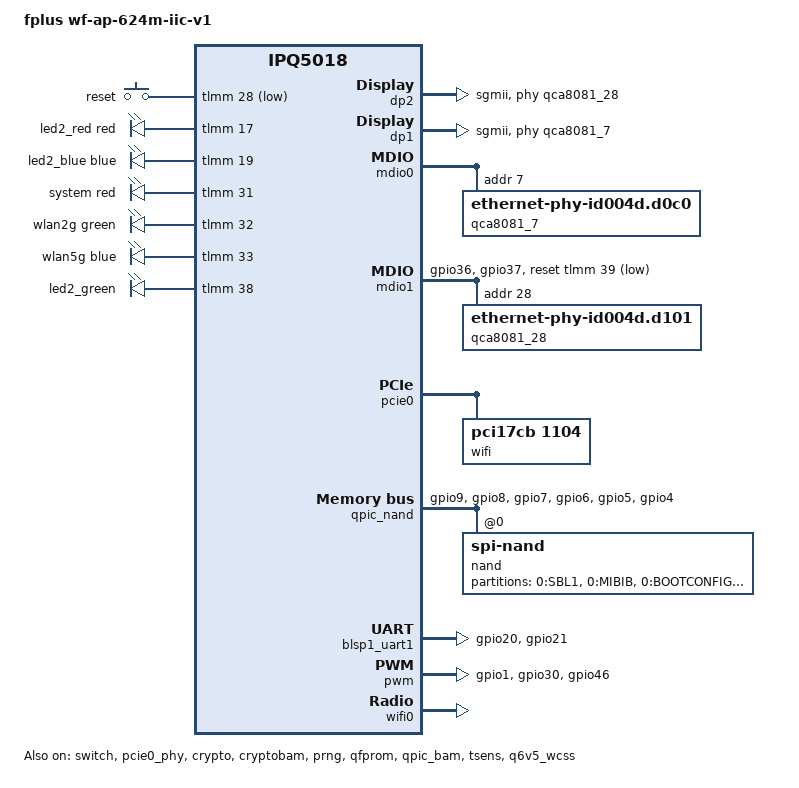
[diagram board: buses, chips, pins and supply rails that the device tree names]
/dts-v1/;

#include "ipq5018.dtsi"
#include "ipq5018-ess.dtsi"

#include <dt-bindings/gpio/gpio.h>
#include <dt-bindings/input/input.h>
#include <dt-bindings/leds/common.h>

 / {
        model = "fplus wf-ap-624m-iic-v1";
        compatible = "fplus,wf-ap-624m-iic-v1", "qcom,ipq5018", "mp03.1";

        aliases {
                led-boot = &led_system;
                led-failsafe = &led_system;
                led-running = &led_system;
                led-upgrade = &led_system;
                serial0 = &blsp1_uart1;
                ethernet0 = "/soc/dp1";
                ethernet1 = "/soc/dp2";
        };

        chosen {
                bootargs-append = " root=/dev/ubiblock0_1 coherent_pool=2M";
                stdout-path = "serial0:115200n8";
        };

        keys {
                compatible = "gpio-keys";
                pinctrl-0 = <&button_pins>;
                pinctrl-names = "default";

                reset-button {
                        label = "reset";
                        gpios = <&tlmm 28 GPIO_ACTIVE_LOW>;
                        linux,code = <KEY_RESTART>;
                };
        };

        reserved-memory {
                q6_mem_regions: q6_mem_regions@4b000000 {
                        no-map;
                        reg = <0x0 0x4b000000 0x0 0x3000000>;
                };
        };

        leds {
                compatible = "gpio-leds";
                pinctrl-0 = <&leds_pins>;
                pinctrl-names = "default";

                led2_red: led2_red {
                        label = "led2_red";
                        color = <LED_COLOR_ID_RED>;
                        gpios = <&tlmm 17 GPIO_ACTIVE_HIGH>;
                };

                led2_blue: led2_blue {
                        label = "led2_blue";
                        color = <LED_COLOR_ID_BLUE>;
                        gpios = <&tlmm 19 GPIO_ACTIVE_HIGH>;
                };

                led_system: system {
                        label = "system";
                        color = <LED_COLOR_ID_RED>;
                        function = LED_FUNCTION_STATUS;
                        gpios = <&tlmm 31 GPIO_ACTIVE_HIGH>;
                };

                wlan2g {
                        label = "wlan2g";
                        color = <LED_COLOR_ID_GREEN>;
                        function = LED_FUNCTION_WLAN;
                        gpios = <&tlmm 32 GPIO_ACTIVE_HIGH>;
                };

                wlan5g {
                        label = "wlan5g";
                        color = <LED_COLOR_ID_BLUE>;
                        function = LED_FUNCTION_WLAN;
                        gpios = <&tlmm 33 GPIO_ACTIVE_HIGH>;
                };

                led2_green: led2_green {
                        label = "led2_green";
                        gpios = <&tlmm 38 GPIO_ACTIVE_HIGH>;
                };
        };
};

&switch {
        status = "okay";
        switch_mac_mode = <MAC_MODE_SGMII_CHANNEL0>;

        qcom,port_phyinfo {
                port@0 {
                        port_id = <1>;
                        mdiobus = <&mdio0>;
                        phy_address = <7>;
                };

                port@1 {
                        port_id = <2>;
                        mdiobus = <&mdio1>;
                        phy_address = <28>;
                };
        };
};

&dp2 {
        status = "okay";
        phy-mode = "sgmii";
        mdio-bus = <&mdio1>;
        phy-handle = <&qca8081_28>;
        label = "wan";
};

&dp1 {
        status = "okay";
        phy-mode = "sgmii";
        mdio-bus = <&mdio0>;
        phy-handle = <&qca8081_7>;
        label = "lan";
};

&mdio0 {
        status = "okay";
        qca8081_7: ethernet-phy@7 {
                compatible = "ethernet-phy-id004d.d0c0";
                reg = <7>;
        };
};

&mdio1 {
        status = "okay";
        pinctrl-0 = <&mdio1_pins>;
        pinctrl-names = "default";
        reset-gpios = <&tlmm 39 GPIO_ACTIVE_LOW>;

        qca8081_28: ethernet-phy@28 {
                compatible = "ethernet-phy-id004d.d101";
                reg = <28>;
        };
};

&pcie0_phy {
        status = "okay";
};

&pcie0 {
        status = "okay";
        perst-gpios = <&tlmm 15 GPIO_ACTIVE_LOW>;

        pcie@0 {
                wifi@0,0 {
                        status = "okay";
                        compatible = "pci17cb,1104";
                        reg = <0x00010000 0 0 0 0>;
                        qcom,ath11k-calibration-variant = "Linksys-MR5500";
                };
        };
};

&tlmm {
        mdio1_pins: mdio-state {
                mdc-pins {
                        pins = "gpio36";
                        function = "mdc";
                        drive-strength = <8>;
                        bias-pull-up;
                };

                mdio-pins {
                        pins = "gpio37";
                        function = "mdio";
                        drive-strength = <8>;
                        bias-pull-up;
                };
        };

        pwm_pins: pwm-state {
                mux_1 {
                        pins = "gpio1";
                        function = "pwm1";
                        drive-strength = <8>;
                };

                mux_2 {
                        pins = "gpio30";
                        function = "pwm3";
                        drive-strength = <8>;
                };

                mux_3 {
                        pins = "gpio46";
                        function = "pwm0";
                        drive-strength = <8>;
                };
        };

        button_pins: button-state {
                pins = "gpio28";
                function = "gpio";
                drive-strength = <8>;
                bias-pull-up;
        };

        serial_0_pins: uart0-state {
                pins = "gpio20", "gpio21";
                function = "blsp0_uart0";
                bias-disable;
        };

        blsp1_spi1_pins: blsp1_spi1_pins {
                mux {
                        pins = "gpio10", "gpio11", "gpio12", "gpio13";
                        function = "blsp1_spi1";
                        drive-strength = <8>;
                        bias-disable;
                };
        };

        qpic_nand_pins: qpic_nand_pins {
                qspi_clock {
                        pins = "gpio9";
                        function = "qspi_clk";
                        drive-strength = <8>;
                        bias-disable;
                };
                qspi_cs {
                        pins = "gpio8";
                        function = "qspi_cs";
                        drive-strength = <8>;
                        bias-pull-up;
                };
                qspi_data_0 {
                        pins = "gpio7";
                        function = "qspi0";
                        drive-strength = <8>;
                        bias-disable;
                };
                qspi_data_1 {
                        pins = "gpio6";
                        function = "qspi1";
                        drive-strength = <8>;
                        bias-disable;
                };
                qspi_data_2 {
                        pins = "gpio5";
                        function = "qspi2";
                        drive-strength = <8>;
                        bias-disable;
                };
                qspi_data_3 {
                        pins = "gpio4";
                        function = "qspi3";
                        drive-strength = <8>;
                        bias-disable;
                };
        };

        leds_pins: leds_pinmux {
                led2_blue_pin {
                        pins = "gpio19";
                        function = "gpio";
                        drive-strength = <8>;
                        bias-pull-down;
                };

                led2_green_pin {
                        pins = "gpio38";
                        function = "gpio";
                        drive-strength = <8>;
                        bias-pull-down;
                };

                led2_red_pin {
                        pins = "gpio17";
                        function = "gpio";
                        drive-strength = <8>;
                        bias-pull-down;
                };

                sysled_blue_pin {
                        pins = "gpio33";
                        function = "gpio";
                        drive-strength = <8>;
                        bias-pull-down;
                };

                sysled_green_pin {
                        pins = "gpio32";
                        function = "gpio";
                        drive-strength = <8>;
                        bias-pull-down;
                };

                sysled_red_pin {
                        pins = "gpio31";
                        function = "gpio";
                        drive-strength = <8>;
                        bias-pull-down;
                };
        };

        phy_led_pins: phy_led_pins {
                gephy_led_pin {
                        pins = "gpio46";
                        function = "led0";
                        drive-strength = <8>;
                        bias-pull-down;
                };
        };
};

/* single flash: disable SPI NOR */
&blsp1_spi1 {
        status = "disabled";
        pinctrl-0 = <&blsp1_spi1_pins>;
};

&qpic_nand {
        pinctrl-0 = <&qpic_nand_pins>;
        pinctrl-names = "default";
        status = "okay";

        partitions {
                status = "disabled";
        };

        nand@0 {
                compatible = "spi-nand";
                reg = <0>;
                #address-cells = <1>;
                #size-cells = <1>;
                nand-ecc-engine = <&qpic_nand>;
                nand-ecc-strength = <4>;
                nand-ecc-step-size = <512>;
                nand-bus-width = <8>;

                partitions {
                        compatible = "fixed-partitions";
                        #address-cells = <1>;
                        #size-cells = <1>;

                        partition@0 {
                                label = "0:SBL1";
                                reg = <0x00000000 0x00080000>;
                        };

                        partition@80000 {
                                label = "0:MIBIB";
                                reg = <0x00080000 0x00080000>;
                        };

                        partition@100000 {
                                label = "0:BOOTCONFIG";
                                reg = <0x00100000 0x00040000>;
                        };

                        partition@140000 {
                                label = "0:BOOTCONFIG1";
                                reg = <0x00140000 0x00040000>;
                        };

                        partition@180000 {
                                label = "0:QSEE";
                                reg = <0x00180000 0x00100000>;
                        };

                        partition@280000 {
                                label = "0:QSEE_1";
                                reg = <0x00280000 0x00100000>;
                        };

                        partition@380000 {
                                label = "0:DEVCFG";
                                reg = <0x00380000 0x00040000>;
                        };

                        partition@3c0000 {
                                label = "0:DEVCFG_1";
                                reg = <0x003c0000 0x00040000>;
                        };

                        partition@400000 {
                                label = "0:CDT";
                                reg = <0x00400000 0x00040000>;
                        };

                        partition@440000 {
                                label = "0:CDT_1";
                                reg = <0x00440000 0x00040000>;
                        };

                        partition@480000 {
                                label = "0:APPSBLENV";
                                reg = <0x00480000 0x00080000>;
                        };

                        partition@500000 {
                                label = "0:APPSBL";
                                reg = <0x00500000 0x00140000>;
                        };

                        partition@640000 {
                                label = "0:APPSBL_1";
                                reg = <0x00640000 0x00140000>;
                        };

                        partition@780000 {
                                label = "0:ART";
                                reg = <0x00780000 0x00100000>;
                        };

                        partition@880000 {
                                label = "0:TRAINING";
                                reg = <0x00880000 0x00080000>;
                        };

                        partition@900000 {
                                label = "rootfs";
                                reg = <0x00900000 0x03a00000>;
                        };

                        partition@4300000 {
                                label = "rootfs_1";
                                reg = <0x04300000 0x03a00000>;
                        };
                };
        };
};

&xo_board_clk {
        clock-frequency = <24000000>;
};

&blsp1_uart1 {
        status = "okay";
        pinctrl-0 = <&serial_0_pins>;
        pinctrl-names = "default";
};

&crypto {
        status = "okay";
};

&cryptobam {
        status = "okay";
};

&prng {
        status = "okay";
};

&pwm {
        status = "okay";
        #pwm-cells = <2>;
        pinctrl-0 = <&pwm_pins>;
        pinctrl-names = "default";
};

&qfprom {
        status = "okay";
};

&qpic_bam {
        status = "okay";
};

&tsens {
        status = "okay";
};

&q6v5_wcss {
        status = "okay";
        memory-region = <&q6_mem_regions>;
        firmware-name = "ath11k/IPQ5018/hw1.0/q6_fw.mdt", "ath11k/IPQ5018/hw1.0/m3_fw.mdt";

        //IPQ5018
        q6_wcss_pd1: pd-1 {
                firmware-name = "ath11k/IPQ5018/hw1.0/q6_fw.mdt";

                resets =
                        <&gcc GCC_WCSSAON_RESET>,
                        <&gcc GCC_WCSS_BCR>,
                        <&gcc GCC_CE_BCR>;
                reset-names =
                        "wcss_aon_reset",
                        "wcss_reset",
                        "ce_reset";

                clocks =
                        <&gcc GCC_WCSS_AHB_S_CLK>,
                        <&gcc GCC_WCSS_ACMT_CLK>,
                        <&gcc GCC_WCSS_AXI_M_CLK>;
                clock-names =
                        "gcc_wcss_ahb_s_clk",
                        "gcc_wcss_acmt_clk",
                        "gcc_wcss_axi_m_clk";

                interrupts-extended =
                        <&wcss_smp2p_in 8 0>,
                        <&wcss_smp2p_in 9 0>,
                        <&wcss_smp2p_in 12 0>,
                        <&wcss_smp2p_in 11 0>;
                interrupt-names =
                        "fatal",
                        "ready",
                        "spawn-ack",
                        "stop-ack";

                qcom,smem-states =
                        <&wcss_smp2p_out 8>,
                        <&wcss_smp2p_out 9>,
                        <&wcss_smp2p_out 10>;
                qcom,smem-state-names =
                        "shutdown",
                        "stop",
                        "spawn";
        };
};

&wifi0 {
        //IPQ5018
        qcom,rproc = <&q6_wcss_pd1>;
        qcom,ath11k-calibration-variant = "Linksys-MR5500";
        qcom,ath11k-fw-memory-mode = <1>;
        qcom,bdf-addr = <0x4c400000>;

        status = "okay";
};

